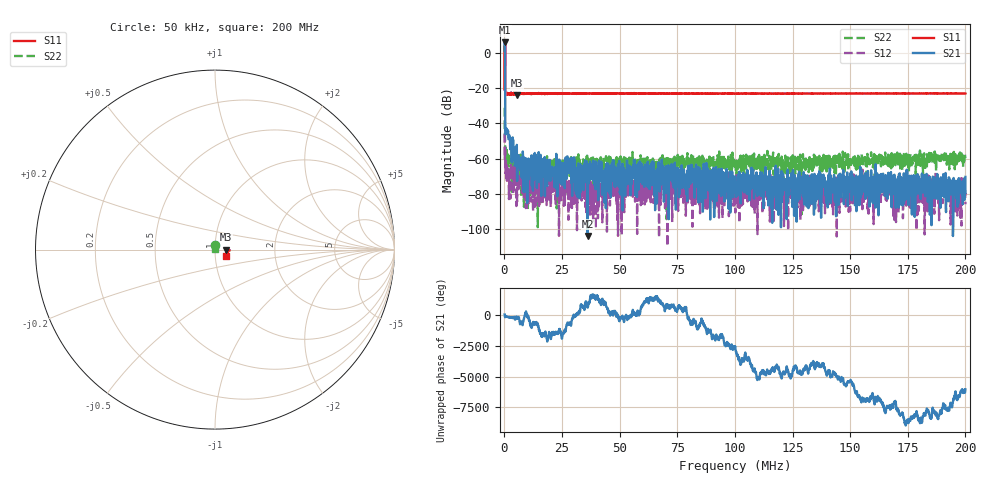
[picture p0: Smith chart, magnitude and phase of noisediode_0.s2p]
! 26-Feb-26 2:01:13 PM
! E:\VNA_MEASUREMENTS\CAL_ENDS\NOISEDIODE_0.S2P
! CHANNEL.1
! TR.MEASUREMENT
! CORRECTED.DATA
# GHZ S RI R 50.0
! FREQ.GHZ  S11RE  S11IM  S21RE  S21IM  S12RE  S12IM  S22RE  S22IM
!; PortSelection: Port_12
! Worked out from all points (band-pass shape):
!   2000 points, 50 kHz to 200 MHz, reference 50 ohm
!   highest |S21| = 5.86 dB at 150 kHz (marker M1); lowest = -103.8 dB at 36.06 MHz (marker M2)
!   |S21| within 3 dB of the highest: 86.43 kHz to 221.1 kHz (134.7 kHz wide, 87.6 % of centre)
!   lowest |S11| = -24.0 dB at 5.251 MHz (marker M3), VSWR 1.13, Z = 56.7 - j0.0505 ohm
!   |S11| at or under -10 dB: 104.5 kHz to 190.2 kHz (85.65 kHz wide, 58.1 % of centre); 308.9 kHz to end of sweep
!   |S22| runs from -98.8 to -31.2 dB; largest |S21 - S12| = 2
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5e-05  -1.457 -0.4125  1.011 0.5287  -0.000134 0.00497  -0.000947 0.0276
0.000150025  -0.0623 -0.0585  -1.073 -1.645  7.24e-05 -0.000965  0.00505 -0.000184
0.001150275  0.0733 -0.00233  -0.00634 -0.000419  3.69e-05 0.000445  0.000737 0.000272
0.001350325  0.0671 -0.000546  -0.00554 -0.000541  0.000278 0.000343  -0.000559 0.00028
0.003150775  0.0684 -0.00411  -0.000682 0.000384  -8.91e-05 -0.000313  -2.17e-05 -0.000114
0.005251301  0.0631 -0.000443  -0.000902 -0.0011  7.75e-05 0.00011  0.000669 0.000813
0.009152276  0.0686 -0.00074  0.00027 -1.59e-05  -6.6e-05 -0.000224  0.000663 0.000295
0.0224556  0.0695 -0.00681  0.00131 0.000394  9.23e-05 0.000185  0.000235 -0.000427
0.02815703  0.0695 -0.00469  0.000143 0.000575  7.1e-06 -7.36e-05  0.000254 0.000414
0.03345835  0.0688 -0.00649  0.000466 0.000181  -6e-05 2.63e-05  0.000651 0.000239
0.036059  0.0704 -0.00656  -5.1e-06 -3.9e-06  0.000233 5.1e-06  0.000252 0.000119
0.04186045  0.0687 -0.00822  0.000108 0.000383  -7.27e-05 -5.13e-05  0.000499 -3.51e-05
0.0432608  0.0708 -0.00933  0.000126 9.96e-05  -7.23e-05 0.000118  0.000504 0.00038
0.04746186  0.0691 -0.00748  0.000505 -0.000698  6.47e-05 -8.1e-05  0.00045 7.45e-05
0.05096273  0.0689 -0.00952  -0.000623 -2.73e-05  1.57e-05 0.000137  0.0004 0.000177
0.05576393  0.0691 -0.0105  0.000345 -6.71e-05  -0.00015 -0.000159  0.000523 0.000193
0.06676668  0.0689 -0.0127  -0.000389 5.53e-05  -2e-07 -5.97e-05  0.000427 0.000295
0.100075  0.0673 -0.0183  0.000291 -0.000122  -4.77e-05 -1.23e-05  0.000642 0.000469
0.1333833  0.0651 -0.0253  0.00014 -0.000177  7.05e-05 -6.77e-05  0.000415 0.000874
0.1666917  0.063 -0.0311  -0.000178 7.79e-05  -0.000106 4.45e-05  0.000232 0.000894
0.1855964  0.0613 -0.0341  9.27e-05 0.000126  8.15e-05 0.000116  0.000586 0.000911
0.2  0.0596 -0.0368  9.45e-05 0.000289  -4.84e-05 -1.63e-05  0.000334 0.000975
